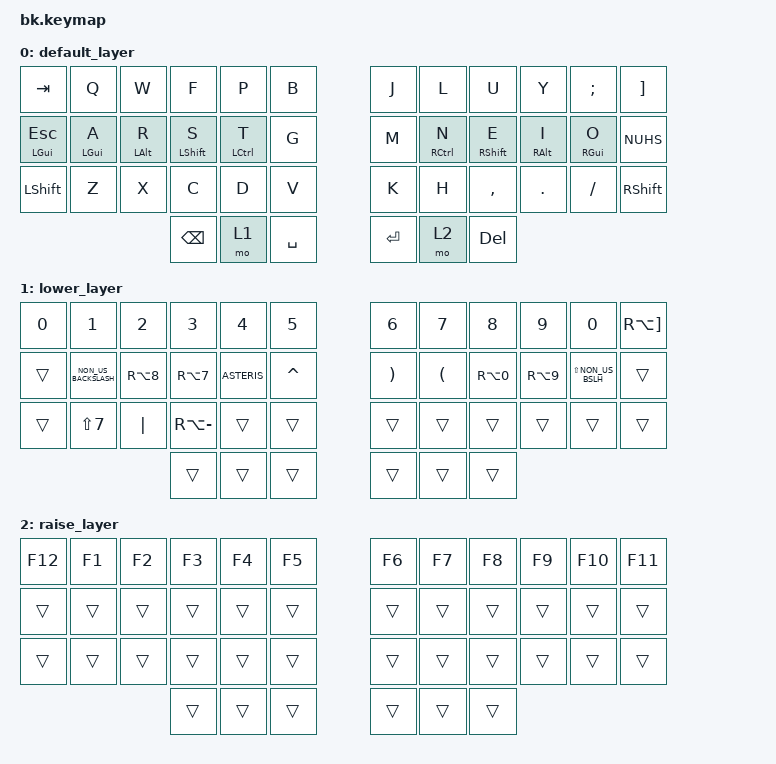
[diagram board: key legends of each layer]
#include <behaviors.dtsi>
#include <dt-bindings/zmk/keys.h>

#define FSLASH  LS(N7)
#define RPIPE   RA(NON_US_BACKSLASH)
#define BSLASH  RA(MINUS)

#define LESSTH  NON_US_BACKSLASH
#define LBRACK  RA(N8)
#define LBRACE  RA(N7) 
#define LPAREN  ASTERIS
#define AMPERS  CARET
#define EQUALS  RPAR
#define RPAREN  LPAR
#define RBRACK  RA(N0)
#define RBRACE  RA(N9)
#define GREATH  LS(NON_US_BSLH)

#define RTILDE  RA(RBKT)

/ {
    behaviors {
        hmr: hmr {
            compatible = "zmk,behavior-hold-tap";
            label = "HMR";
            bindings = <&kp>, <&kp>;

            #binding-cells = <2>;
            tapping-term-ms = <200>;
            quick-tap-ms = <175>;
            flavor = "balanced";
            hold-trigger-key-positions = <0 1 2 3 4 5 12 13 14 15 16 17 24 25 26 27 28 29 36 37 38 39 40 41>;
            hold-trigger-on-release;
        };

        hml: hml {
            compatible = "zmk,behavior-hold-tap";
            label = "HML";
            bindings = <&kp>, <&kp>;

            #binding-cells = <2>;
            tapping-term-ms = <200>;
            quick-tap-ms = <175>;
            flavor = "balanced";
            hold-trigger-key-positions = <6 7 8 9 10 11 18 19 20 21 22 23 30 31 32 33 34 35 39 40 41 36 37 38>;
            hold-trigger-on-release;
        };
    };

    keymap {
        compatible = "zmk,keymap";

        default_layer {
            // -----------------------------------------------------------------------------------------
            // |  TAB |  Q  |  W  |  F  |  P  |  B  |   |  J  |  L   |  U  |  Y  |  Ö  |     |
            // |  ESC |  A  |  R  |  S  |  T  |  G  |   |  M  |  N   |  E  |  I  |  O  |  *  |
            // | SHFT |  Z  |  X  |  C  |  D  |  V  |   |  K  |  H   |  ,  |  :  |  -  |     |
            //                    | BKS | LWR | SPC |   | ENT | RSE  | DEL |

            bindings = <
&kp TAB         &kp Q           &kp W           &kp F           &kp P           &kp B       &kp J       &kp L           &kp U           &kp Y           &kp SEMI        &kp RBKT
&hml LGUI ESC   &hml LGUI A     &hml LALT R     &hml LSHIFT S   &hml LCTRL T    &kp G       &kp M       &hmr RCTRL N    &hmr RSHIFT E   &hmr RALT I     &hmr RGUI O     &kp NUHS
&kp LSHFT       &kp Z           &kp X           &kp C           &kp D           &kp V       &kp K       &kp H           &kp COMMA       &kp PERIOD      &kp FSLH        &kp RSHIFT
                                                &kp BACKSPACE   &mo 1           &kp SPACE   &kp RET     &mo 2           &kp DELETE
            >;
        };

        lower_layer {
            // -----------------------------------------------------------------------------------------
            // |  TAB |  1  |  2  |  3  |  4  |  5  |   |  6  |  7  |  8  |  9  |  0  | BKSP |
            // | BTCLR| BT1 | BT2 | BT3 | BT4 | BT5 |   | LFT | DWN |  UP | RGT |     |      |
            // | SHFT |     |     |     |     |     |   |     |     |     |     |     |      |
            //                    | GUI |     | SPC |   | ENT |     | ALT |

            bindings = <
&kp N0  &kp N1      &kp N2      &kp N3      &kp N4      &kp N5      &kp N6      &kp N7      &kp N8      &kp N9      &kp N0      &kp RA(RBKT)
&trans  &kp LESSTH  &kp LBRACK  &kp LBRACE  &kp LPAREN  &kp AMPERS  &kp EQUALS  &kp RPAREN  &kp RBRACK  &kp RBRACE  &kp GREATH  &trans
&trans  &kp FSLASH  &kp PIPE    &kp BSLASH  &trans      &trans      &trans      &trans      &trans      &trans      &trans      &trans
                                &trans      &trans      &trans      &trans      &trans      &trans
            >;
        };

        raise_layer {
            bindings = <
&kp F12  &kp F1  &kp F2  &kp F3  &kp F4  &kp F5    &kp F6  &kp F7  &kp F8  &kp F9  &kp F10  &kp F11
&trans   &trans  &trans  &trans  &trans  &trans    &trans  &trans  &trans  &trans  &trans   &trans
&trans   &trans  &trans  &trans  &trans  &trans    &trans  &trans  &trans  &trans  &trans   &trans
                         &trans  &trans  &trans    &trans  &trans  &trans
            >;
        };
    };

    conditional_layers {
        compatible = "zmk,conditional-layers";

        tri_layer {
            if-layers = <1 2>;
            then-layer = <3>;
        };
    };
};
